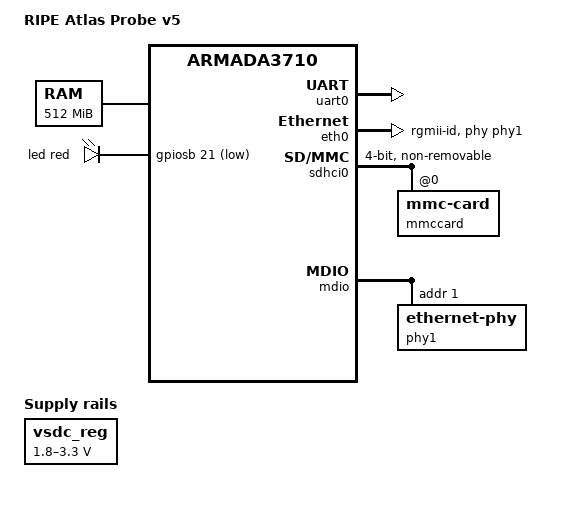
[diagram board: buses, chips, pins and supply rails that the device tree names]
// SPDX-License-Identifier: (GPL-2.0+ OR MIT)
/*
 * Device Tree file for RIPE Atlas Probe v5
 * 2025 by Marek Behún <kabel@kernel.org>
 */

/dts-v1/;

#include <dt-bindings/bus/moxtet.h>
#include <dt-bindings/gpio/gpio.h>
#include <dt-bindings/leds/common.h>
#include "armada-372x.dtsi"

/ {
	model = "RIPE Atlas Probe v5";
	compatible = "ripe,atlas-v5", "marvell,armada3720",
		     "marvell,armada3710";

	aliases {
		ethernet0 = &eth0;
		mmc0 = &sdhci0;
	};

	chosen {
		stdout-path = "serial0:115200n8";
	};

	memory@0 {
		device_type = "memory";
		reg = <0x00000000 0x00000000 0x00000000 0x20000000>;
	};

	leds {
		compatible = "gpio-leds";

		led {
			gpios = <&gpiosb 21 GPIO_ACTIVE_LOW>;
			function = LED_FUNCTION_ACTIVITY;
			color = <LED_COLOR_ID_RED>;
			linux,default-trigger = "default-on";
		};
	};

	vsdc_reg: vsdc-reg {
		compatible = "regulator-gpio";
		regulator-name = "vsdc";
		regulator-min-microvolt = <1800000>;
		regulator-max-microvolt = <3300000>;
		regulator-boot-on;

		gpios = <&gpiosb 23 GPIO_ACTIVE_HIGH>;
		gpios-states = <0>;
		states = <1800000 0x1
			  3300000 0x0>;
		enable-active-high;
	};

	firmware {
		armada-3700-rwtm {
			compatible = "marvell,armada-3700-rwtm-firmware", "cznic,turris-mox-rwtm";
		};
	};
};

&uart0 {
	pinctrl-names = "default";
	pinctrl-0 = <&uart1_pins>;
	status = "okay";
};

&eth0 {
	pinctrl-names = "default";
	pinctrl-0 = <&rgmii_pins>;
	phy-mode = "rgmii-id";
	phy-handle = <&phy1>;
	status = "okay";
};

&sdhci0 {
	non-removable;
	bus-width = <4>;
	mmc-ddr-1_8v;
	mmc-hs400-1_8v;
	sd-uhs-sdr104;
	marvell,xenon-emmc;
	marvell,xenon-tun-count = <9>;
	marvell,pad-type = "fixed-1-8v";
	vqmmc-supply = <&vsdc_reg>;

	pinctrl-names = "default";
	pinctrl-0 = <&mmc_pins>;
	status = "okay";

	#address-cells = <1>;
	#size-cells = <0>;
	mmccard: mmccard@0 {
		compatible = "mmc-card";
		reg = <0>;
	};
};

&mdio {
	pinctrl-names = "default";
	pinctrl-0 = <&smi_pins>;
	status = "okay";

	phy1: ethernet-phy@1 {
		reg = <1>;
	};
};
